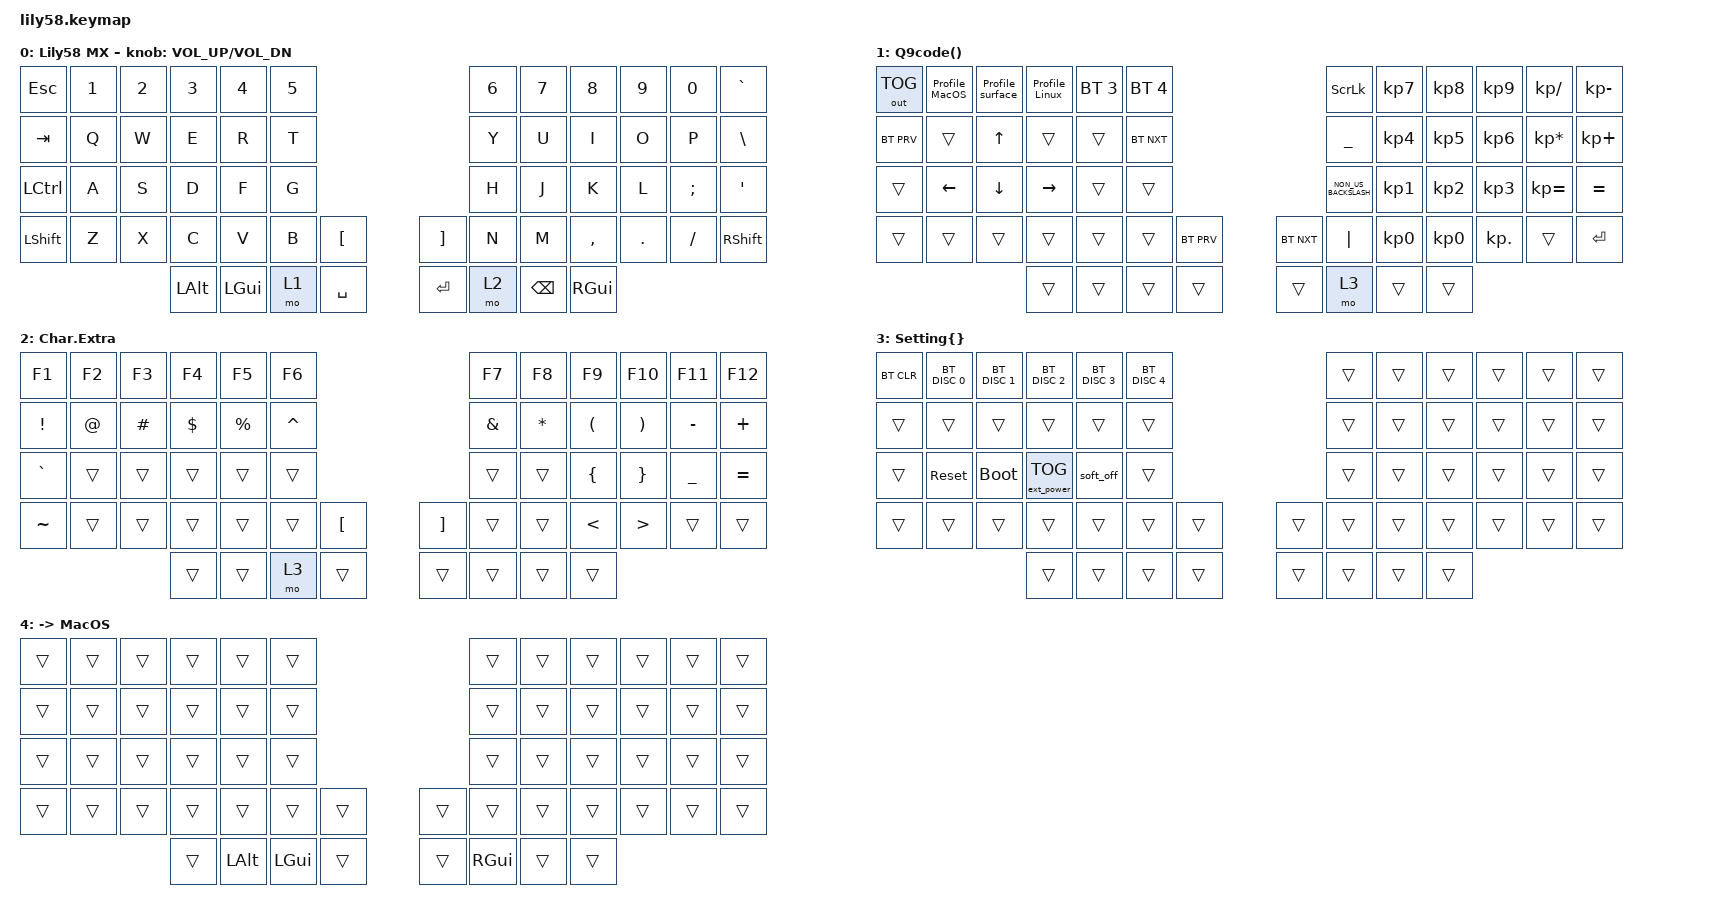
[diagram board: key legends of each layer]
/*
 * Copyright (c) 2020 The ZMK Contributors
 *
 * SPDX-License-Identifier: MIT
 */

#include <behaviors.dtsi>
#include <dt-bindings/zmk/bt.h>
#include <dt-bindings/zmk/ext_power.h>
#include <dt-bindings/zmk/keys.h>
#include <dt-bindings/zmk/outputs.h>

/ {
    combos { compatible = "zmk,combos"; };

    macros {
        Profile_MacOS: Profile_MacOS {
            compatible = "zmk,behavior-macro";
            #binding-cells = <0>;
            bindings = <&to 4 &bt BT_SEL 0>;
            label = "PROFILE_MACOS";
        };

        Profile_Linux: Profile_Linux {
            compatible = "zmk,behavior-macro";
            #binding-cells = <0>;
            bindings = <&to 0 &bt BT_SEL 2>;
            label = "PROFILE_LINUX";
        };

        Profile_surface: Profile_Windows {
            compatible = "zmk,behavior-macro";
            #binding-cells = <0>;
            bindings = <&to 0 &bt BT_SEL 1>;
            label = "PROFILE_WINDOWS";
        };
    };

    keymap {
        compatible = "zmk,keymap";

        default_layer {
            display-name = "Lily58 MX";
            bindings = <
&kp ESC           &kp N1  &kp N2  &kp N3    &kp N4        &kp N5                                         &kp N6  &kp N7         &kp N8         &kp N9   &kp N0    &kp GRAVE
&kp TAB           &kp Q   &kp W   &kp E     &kp R         &kp T                                          &kp Y   &kp U          &kp I          &kp O    &kp P     &kp BACKSLASH
&kp LEFT_CONTROL  &kp A   &kp S   &kp D     &kp F         &kp G                                          &kp H   &kp J          &kp K          &kp L    &kp SEMI  &kp SQT
&kp LSHFT         &kp Z   &kp X   &kp C     &kp V         &kp B   &kp LEFT_BRACKET    &kp RIGHT_BRACKET  &kp N   &kp M          &kp COMMA      &kp DOT  &kp FSLH  &kp RSHFT
                                  &kp LALT  &kp LEFT_GUI  &mo 1   &kp SPACE           &kp RET            &mo 2   &kp BACKSPACE  &kp RIGHT_GUI
            >;

            sensor-bindings = <&inc_dec_kp C_VOL_UP C_VOL_DN>;
        };

        Menu_Q9code_layer {
            display-name = "Q9code()";
            bindings = <
&out OUT_TOG  &Profile_MacOS  &Profile_surface  &Profile_Linux  &bt BT_SEL 3  &bt BT_SEL 4                            &kp SCROLLLOCK        &kp KP_NUMBER_7  &kp KP_NUMBER_8  &kp KP_NUMBER_9  &kp KP_DIVIDE    &kp KP_MINUS
&bt BT_PRV    &trans          &kp UP_ARROW      &trans          &trans        &bt BT_NXT                              &kp UNDERSCORE        &kp KP_NUMBER_4  &kp KP_NUMBER_5  &kp KP_NUMBER_6  &kp KP_MULTIPLY  &kp KP_PLUS
&trans        &kp LEFT        &kp DOWN          &kp RIGHT       &trans        &trans                                  &kp NON_US_BACKSLASH  &kp KP_NUMBER_1  &kp KP_NUMBER_2  &kp KP_NUMBER_3  &kp KP_EQUAL     &kp EQUAL
&trans        &trans          &trans            &trans          &trans        &trans        &bt BT_PRV    &bt BT_NXT  &kp PIPE              &kp KP_NUMBER_0  &kp KP_NUMBER_0  &kp KP_DOT       &trans           &kp ENTER
                                                &trans          &trans        &trans        &trans        &trans      &mo 3                 &trans           &trans
            >;
        };

        Special_Character_layer {
            display-name = "Char.Extra";
            bindings = <
&kp F1           &kp F2       &kp F3    &kp F4      &kp F5       &kp F6                                            &kp F7         &kp F8        &kp F9                &kp F10                &kp F11    &kp F12
&kp EXCLAMATION  &kp AT_SIGN  &kp HASH  &kp DOLLAR  &kp PERCENT  &kp CARET                                         &kp AMPERSAND  &kp ASTERISK  &kp LEFT_PARENTHESIS  &kp RIGHT_PARENTHESIS  &kp MINUS  &kp PLUS
&kp GRAVE        &trans       &trans    &trans      &trans       &trans                                            &trans         &trans        &kp LEFT_BRACE        &kp RIGHT_BRACE        &kp UNDER  &kp EQUAL
&kp TILDE        &trans       &trans    &trans      &trans       &trans     &kp LEFT_BRACKET    &kp RIGHT_BRACKET  &trans         &trans        &kp LESS_THAN         &kp GREATER_THAN       &trans     &trans
                                        &trans      &trans       &mo 3      &trans              &trans             &trans         &trans        &trans
            >;
        };

        Power_Menu_layer {
            display-name = "Setting{}";
            bindings = <
&bt BT_CLR  &bt BT_DISC 0  &bt BT_DISC 1  &bt BT_DISC 2      &bt BT_DISC 3  &bt BT_DISC 4                    &trans  &trans  &trans  &trans  &trans  &trans
&trans      &trans         &trans         &trans             &trans         &trans                           &trans  &trans  &trans  &trans  &trans  &trans
&trans      &sys_reset     &bootloader    &ext_power EP_TOG  &soft_off      &trans                           &trans  &trans  &trans  &trans  &trans  &trans
&trans      &trans         &trans         &trans             &trans         &trans         &trans    &trans  &trans  &trans  &trans  &trans  &trans  &trans
                                          &trans             &trans         &trans         &trans    &trans  &trans  &trans  &trans
            >;
        };

        MacOS_layper {
            display-name = "-> MacOS";
            bindings = <
&trans  &trans  &trans  &trans  &trans        &trans                          &trans         &trans  &trans  &trans  &trans  &trans
&trans  &trans  &trans  &trans  &trans        &trans                          &trans         &trans  &trans  &trans  &trans  &trans
&trans  &trans  &trans  &trans  &trans        &trans                          &trans         &trans  &trans  &trans  &trans  &trans
&trans  &trans  &trans  &trans  &trans        &trans        &trans    &trans  &trans         &trans  &trans  &trans  &trans  &trans
                        &trans  &kp LEFT_ALT  &kp LEFT_GUI  &trans    &trans  &kp RIGHT_GUI  &trans  &trans
            >;
        };
    };
};
